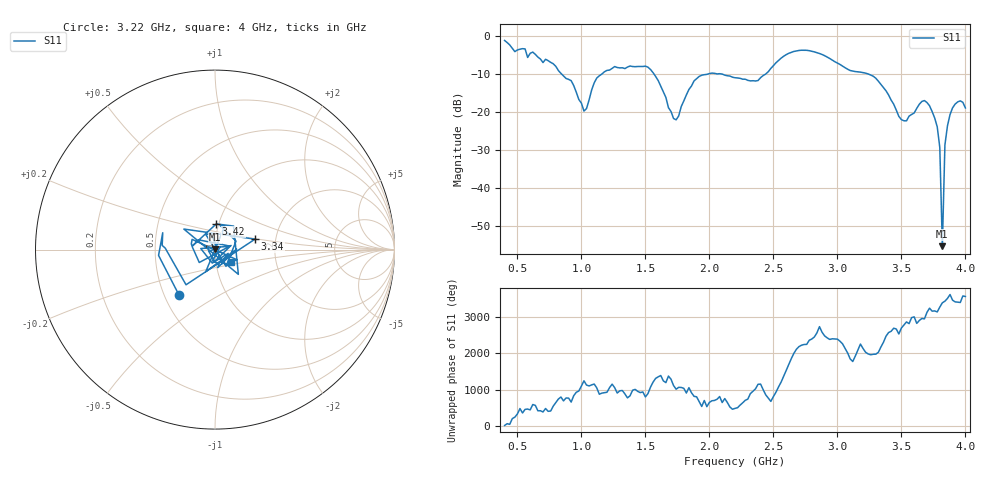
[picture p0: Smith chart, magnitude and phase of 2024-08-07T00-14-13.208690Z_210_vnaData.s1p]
!Created with skrf (http://scikit-rf.org).
# Hz S RI R 50.0
!freq ReS11 ImS11
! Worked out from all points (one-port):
!   181 points, 400 MHz to 4 GHz, reference 50 ohm
!   lowest |S11| = -55.3 dB at 3.82 GHz (marker M1), VSWR 1.00, Z = 49.9 + j0.0904 ohm
!   |S11| at or under -10 dB: 1.567 GHz to 1.991 GHz (424.4 MHz wide, 23.9 % of centre); 2.093 GHz to 2.441 GHz (348.7 MHz wide, 15.4 % of centre); 3.24 GHz to end of sweep (the widest 3 of 4)
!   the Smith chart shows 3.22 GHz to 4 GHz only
!   S11 on the Smith chart (normalised r, x): 3.22 GHz: 0.60, -0.34; 3.34 GHz: 1.56, +0.19; 3.42 GHz: 0.97, +0.28; 4 GHz: 1.18, -0.17
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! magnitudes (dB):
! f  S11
! 400 MHz  -1.2
! 860 MHz  -10.5
! 920 MHz  -11.8
! 1.02 GHz  -19.8
! 1.12 GHz  -11.1
! 1.3 GHz  -8.4
! 1.52 GHz  -8.2
! 1.6 GHz  -11.7
! 1.72 GHz  -21.7
! 1.76 GHz  -21.0
! 1.92 GHz  -10.7
! 2.2 GHz  -11.0
! 2.38 GHz  -11.7
! 2.66 GHz  -4.1
! 3.1 GHz  -9.1
! 3.22 GHz  -9.8
! 3.34 GHz  -12.8
! 3.42 GHz  -16.9
! 3.5 GHz  -22.0
! 3.56 GHz  -21.1
! 3.68 GHz  -17.0
! 3.78 GHz  -23.9
! 3.8 GHz  -29.3
! 3.82 GHz  -55.3
! 3.84 GHz  -28.7
! 3.86 GHz  -23.6
! 3.92 GHz  -17.9
! 4 GHz  -18.9
